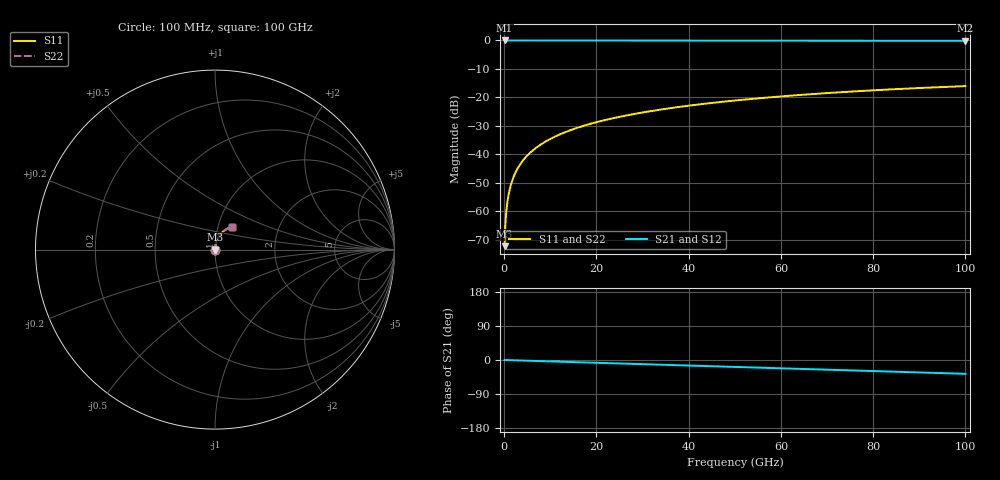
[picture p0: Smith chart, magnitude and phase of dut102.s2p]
! Touchstone file exported from HFSS 2026.1.0
!  File:  C:/ffzhzh/LocalFiles/Ansys_Project_Files/temp_train_TSV_102_1783505803_55944.aedt
!  Generated:  06:18:00 PM Jul  8, 2026
!  Design:  TSV
!  Project:  temp_train_TSV_102_1783505803_55944
! Variables:
!  h_bsmrdl = 2um
!  h_ox = 20um
!  h_rdl = 5um
!  h_sub = 64.91um
!  h_tmrdl = 5um
!  h_tsv = 64.91um
!  h_via = 3um
!  l_bsmrdl = 300um
!  l_sub = 419.56um
!  l_tmrdl = 200um
!  m_sub = 200um
!  pitch = 55.54um
!  r_tsv = 9.78um
!  s_tmrdl = 10um
!  w_bsmrdl = 18um
!  w_sub = 500um
!  w_tmrdl = 12um
!  x_tsv_center1 = 206um
!  x_tsv_center2 = 524um
!  x_tsv_center3 = 736um
!  x_tsv_center4 = 1054um
!  x_tsv_center5 = 1266um
!  x_tsv_center6 = 1584um
# GHz S MA R 50.000000
! Terminal data exported
! Port[1] = TSV1_1_T1
! Port[2] = TSV1_1_T2
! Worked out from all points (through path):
!   1000 points, 100 MHz to 100 GHz, reference 50 ohm
!   highest |S21| = 0.00 dB at 100 MHz (marker M1); lowest = -0.1 dB at 100 GHz (marker M2)
!   group delay of S21, straight-line fit = 1.01 ps
!   lowest |S11| = -72.2 dB at 100 MHz (marker M3), VSWR 1.00, Z = 50 + j0.0218 ohm
!   |S11| at or under -10 dB: start of sweep to end of sweep
!   |S22| runs from -72.2 to -16.0 dB; largest |S21 - S12| = 2.6e-15
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0.1  0.0002445 63.2  0.9999 -0.0  0.9999 -0.0  0.0002445 63.2
! Gamma 0 0 0 0
! Port Impedance 50 0 50 0
0.3  0.0006585 78.1  0.9999 -0.1  0.9999 -0.1  0.0006585 78.1
0.7  0.001459 81.9  0.9998 -0.3  0.9998 -0.3  0.001459 81.9
0.8  0.001653 82.3  0.9998 -0.3  0.9998 -0.3  0.001653 82.3
1  0.002038 82.9  0.9998 -0.4  0.9998 -0.4  0.002038 82.9
1.3  0.00261 83.6  0.9997 -0.5  0.9997 -0.5  0.00261 83.6
1.7  0.00337 84.2  0.9997 -0.6  0.9997 -0.6  0.00337 84.2
2.3  0.0045 84.6  0.9996 -0.9  0.9996 -0.9  0.0045 84.6
3  0.005809 84.8  0.9996 -1.1  0.9996 -1.1  0.005809 84.8
3.8  0.007294 85.0  0.9995 -1.4  0.9995 -1.4  0.007294 85.0
4.8  0.009141 85.0  0.9994 -1.8  0.9994 -1.8  0.009141 85.0
6  0.01135 84.9  0.9994 -2.2  0.9994 -2.2  0.01135 84.9
8.8  0.01648 84.3  0.9992 -3.3  0.9992 -3.3  0.01648 84.3
12.4  0.02303 83.3  0.9989 -4.6  0.9989 -4.6  0.02303 83.3
16.8  0.03097 82.0  0.9985 -6.2  0.9985 -6.2  0.03097 82.0
24.2  0.04418 79.6  0.9978 -8.9  0.9978 -8.9  0.04418 79.6
33.4  0.0603 76.4  0.9968 -12.3  0.9968 -12.3  0.0603 76.4
41.2  0.07362 73.7  0.9958 -15.1  0.9958 -15.1  0.07362 73.7
50.1  0.08835 70.6  0.9944 -18.4  0.9944 -18.4  0.08835 70.6
66.7  0.1143 64.7  0.9915 -24.4  0.9915 -24.4  0.1143 64.7
83.4  0.1378 58.7  0.9883 -30.5  0.9883 -30.5  0.1378 58.7
100  0.158 52.8  0.9849 -36.5  0.9849 -36.5  0.158 52.9
